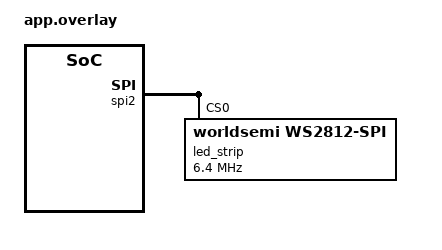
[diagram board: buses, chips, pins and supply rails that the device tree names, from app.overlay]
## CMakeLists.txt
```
#-------------------------------------------------------------------------------
# Zephyr Example Application
#
# Copyright (c) 2021 Nordic Semiconductor ASA
# SPDX-License-Identifier: Apache-2.0

cmake_minimum_required(VERSION 3.13.1)
find_package(Zephyr REQUIRED HINTS $ENV{ZEPHYR_BASE})

project(app LANGUAGES C)

target_sources(app PRIVATE
            src/main.c
            src/pixels.c)
```

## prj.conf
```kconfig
# Copyright (c) 2021 Nordic Semiconductor ASA
# SPDX-License-Identifier: Apache-2.0
#
# This file contains selected Kconfig options for the application.

CONFIG_LOG=y
CONFIG_SPI=y
CONFIG_LED_STRIP=y
CONFIG_WS2812_STRIP=y
```

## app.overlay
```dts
/*
 * Copyright (c) 2024 Jakub Duchniewicz
 *
 * SPDX-License-Identifier: Apache-2.0
 */

#include <zephyr/dt-bindings/led/led.h>

&spi2 {
	/* Workaround to support WS2812 driver */
	line-idle-low;

        led_strip: ws2812@0 {
                compatible = "worldsemi,ws2812-spi";

                /* SPI */
                reg = <0>; /* ignored, but necessary for SPI bindings */
                spi-max-frequency = <6400000>;

                /* WS2812 */
                chain-length = <256>; /* arbitrary; change at will */
                spi-cpha;
                spi-one-frame = <0xf0>; /* 11110000: 625 ns high and 625 ns low */
                spi-zero-frame = <0xc0>; /* 11000000: 312.5 ns high and 937.5 ns low */
                color-mapping = <LED_COLOR_ID_GREEN
                                 LED_COLOR_ID_RED
                                 LED_COLOR_ID_BLUE>;
        };
};

/ {
        aliases {
                led-strip = &led_strip;
        };
};
```

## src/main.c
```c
/*
 * Copyright (c) 2024 Jakub Duchniewicz
 * SPDX-License-Identifier: Apache-2.0
 */

#include <errno.h>

#include "pixels.h"

#include <zephyr/kernel.h>
#include <zephyr/device.h>
#include <zephyr/drivers/spi.h>

#include <zephyr/logging/log.h>
LOG_MODULE_REGISTER(main, CONFIG_APP_LOG_LEVEL);

#define STRIP_NODE  DT_ALIAS(led_strip)

#define UPDATE_DELAY K_MSEC(50) /* in ms */

static const struct device * const strip = DEVICE_DT_GET(STRIP_NODE);

int main(void)
{
    int rc;

    if (device_is_ready(strip)) {
        LOG_INF("Found LED strip device %s", strip->name);
    } else {
        LOG_INF("LED strip device %s is not ready", strip->name);
        return 0;
    }

    LOG_INF("Displaying pattern on strip");

    // cycle the colors on the strip
    while (1) {
        rc = update_pixels(strip);

        if (rc) {
            LOG_ERR("could not update strip: %d", rc);
        }
        k_sleep(UPDATE_DELAY);
    }

	return 0;
}
```
